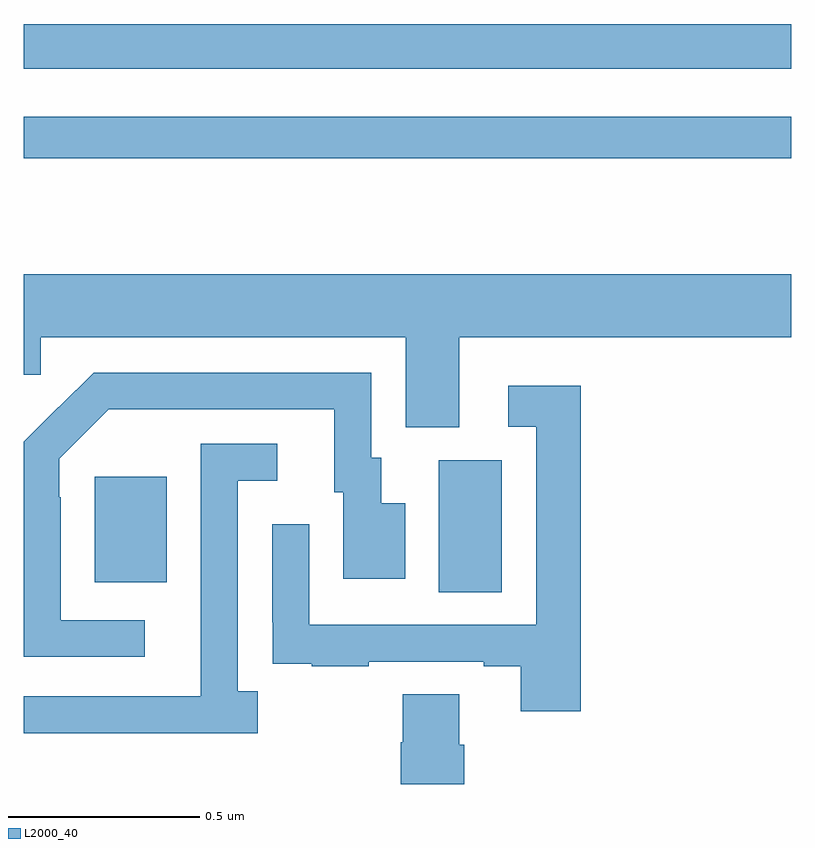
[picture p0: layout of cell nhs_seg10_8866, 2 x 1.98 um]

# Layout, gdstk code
import gdstk
lib = gdstk.Library(unit=1e-6, precision=1e-09)
def R(c, l, rs):  # rectangles x0, y0, x1, y1
    for r in rs: c.add(gdstk.rectangle(r[:2], r[2:], *l))
def P(c, l, *ps):  # polygons
    for p in ps: c.add(gdstk.Polygon(p, *l))
L2000_40 = (2000, 40)

nhs_seg10_8866 = lib.new_cell('nhs_seg10_8866')
R(nhs_seg10_8866, L2000_40, [(223.082,1285,223.246,1285.344), (222.185,1285.025,222.373,1285.3), (222,1286.13,224,1286.238), (222,1286.364,224,1286.48)])
P(nhs_seg10_8866, L2000_40, [(223.135,1285.664),(224,1285.664),(224,1285.828),(222,1285.828),(222,1285.566),(222.045,1285.566),(222.045,1285.664),(222.995,1285.664),(222.995,1285.429),(223.135,1285.429)],
  [(222.316,1284.927),(222.096,1284.927),(222.096,1285.247),(222.093,1285.247),(222.093,1285.347),(222.222,1285.476),(222.809,1285.476),(222.809,1285.26),(222.833,1285.26),(222.833,1285.035),(222.994,1285.035),(222.994,1285.231),(222.931,1285.231),(222.931,1285.35),(222.906,1285.35),(222.906,1285.572),(222.182,1285.572),(222.091,1285.481),(222.09,1285.482),(222,1285.392),(222,1284.831),(222.316,1284.831)],
  [(223.451,1285.537),(223.263,1285.537),(223.263,1285.431),(223.335,1285.431),(223.335,1284.915),(222.744,1284.915),(222.744,1285.177),(222.648,1285.177),(222.648,1284.922),(222.649,1284.922),(222.649,1284.813),(222.751,1284.813),(222.751,1284.807),(222.899,1284.807),(222.899,1284.819),(223.199,1284.819),(223.199,1284.807),(223.295,1284.807),(223.295,1284.69),(223.451,1284.69)],
  [(222.61,1284.742),(222.558,1284.742),(222.558,1285.29),(222.661,1285.29),(222.661,1285.386),(222.462,1285.386),(222.462,1284.929),(222.461,1284.929),(222.461,1284.729),(222,1284.729),(222,1284.632),(222.61,1284.632)],
  [(223.148,1284.602),(223.135,1284.602),(223.135,1284.734),(222.988,1284.734),(222.988,1284.609),(222.983,1284.609),(222.983,1284.5),(223.148,1284.5)])

lib.write_gds('nhs_seg10_8866.gds')
